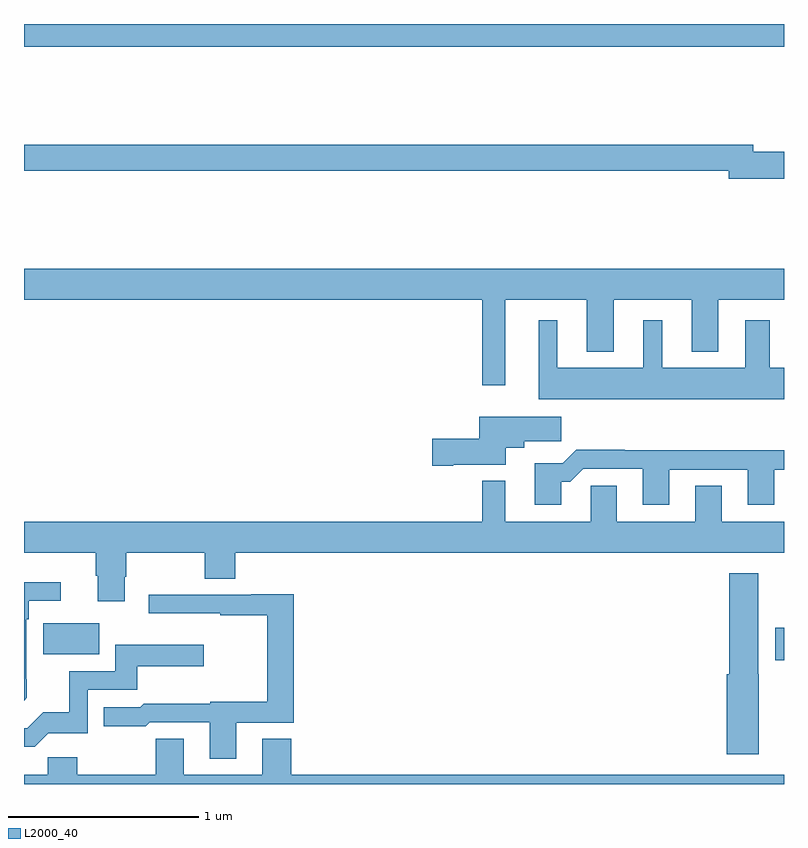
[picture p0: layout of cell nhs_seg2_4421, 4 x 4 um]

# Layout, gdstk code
import gdstk
lib = gdstk.Library(unit=1e-6, precision=1e-09)
def R(c, l, rs):  # rectangles x0, y0, x1, y1
    for r in rs: c.add(gdstk.rectangle(r[:2], r[2:], *l))
def P(c, l, *ps):  # polygons
    for p in ps: c.add(gdstk.Polygon(p, *l))
L2000_40 = (2000, 40)

nhs_seg2_4421 = lib.new_cell('nhs_seg2_4421')
R(nhs_seg2_4421, L2000_40, [(354.954,600.452,355,600.622), (351.102,600.482,351.395,600.646), (351,603.68,355,603.8)])
P(nhs_seg2_4421, L2000_40, [(355,603.128),(354.838,603.128),(354.838,603.164),(351,603.164),(351,603.028),(354.71,603.028),(354.71,602.986),(355,602.986)],
  [(353.533,602.348),(353.963,602.348),(353.963,602.075),(354.103,602.075),(354.103,602.348),(354.515,602.348),(354.515,602.075),(354.655,602.075),(354.655,602.348),(355,602.348),(355,602.512),(351,602.512),(351,602.348),(353.412,602.348),(353.412,601.899),(353.533,601.899)],
  [(355,601.99),(354.925,601.99),(354.925,602.242),(354.797,602.242),(354.797,601.99),(354.358,601.99),(354.358,602.242),(354.26,602.242),(354.26,601.99),(353.806,601.99),(353.806,602.242),(353.708,602.242),(353.708,601.826),(355,601.826)],
  [(353.26,601.481),(353.536,601.481),(353.536,601.571),(353.632,601.571),(353.632,601.603),(353.827,601.603),(353.827,601.732),(353.396,601.732),(353.396,601.616),(353.148,601.616),(353.148,601.474),(353.26,601.474)],
  [(353.827,601.391),(353.876,601.391),(353.943,601.458),(354.257,601.458),(354.257,601.269),(354.397,601.269),(354.397,601.455),(354.809,601.455),(354.809,601.269),(354.949,601.269),(354.949,601.455),(355,601.455),(355,601.556),(354.161,601.556),(354.161,601.559),(353.906,601.559),(353.836,601.489),(353.687,601.489),(353.687,601.269),(353.827,601.269)],
  [(351.529,600.892),(351.537,600.892),(351.537,601.016),(351.952,601.016),(351.952,600.88),(352.112,600.88),(352.112,601.016),(355,601.016),(355,601.18),(354.673,601.18),(354.673,601.37),(354.533,601.37),(354.533,601.18),(354.121,601.18),(354.121,601.37),(353.982,601.37),(353.982,601.18),(353.533,601.18),(353.533,601.396),(353.412,601.396),(353.412,601.18),(351,601.18),(351,601.016),(351.377,601.016),(351.377,600.897),(351.389,600.897),(351.389,600.762),(351.529,600.762)],
  [(354.868,600.378),(354.865,600.378),(354.865,600.91),(354.713,600.91),(354.713,600.378),(354.698,600.378),(354.698,599.957),(354.868,599.957)],
  [(351.015,600.253),(351.015,600.352),(351.012,600.352),(351.012,600.668),(351.024,600.668),(351.024,600.765),(351.193,600.765),(351.193,600.862),(351,600.862),(351,600.238)],
  [(352.117,600.123),(352.421,600.123),(352.421,600.798),(352.195,600.798),(352.195,600.795),(351.657,600.795),(351.657,600.698),(352.033,600.698),(352.033,600.687),(352.279,600.687),(352.279,600.232),(351.981,600.232),(351.981,600.223),(351.631,600.223),(351.612,600.204),(351.421,600.204),(351.421,600.104),(351.641,600.104),(351.663,600.126),(351.977,600.126),(351.977,599.934),(352.117,599.934)],
  [(351.128,600.068),(351.336,600.068),(351.336,600.297),(351.596,600.297),(351.596,600.419),(351.946,600.419),(351.946,600.532),(351.48,600.532),(351.48,600.393),(351.238,600.393),(351.238,600.177),(351.102,600.177),(351.018,600.093),(351,600.093),(351,599.997),(351.056,599.997)],
  [(352.406,600.038),(352.253,600.038),(352.253,599.848),(351.841,599.848),(351.841,600.038),(351.694,600.038),(351.694,599.848),(351.279,599.848),(351.279,599.941),(351.125,599.941),(351.125,599.848),(351,599.848),(351,599.8),(355,599.8),(355,599.848),(352.406,599.848)])

lib.write_gds('nhs_seg2_4421.gds')
